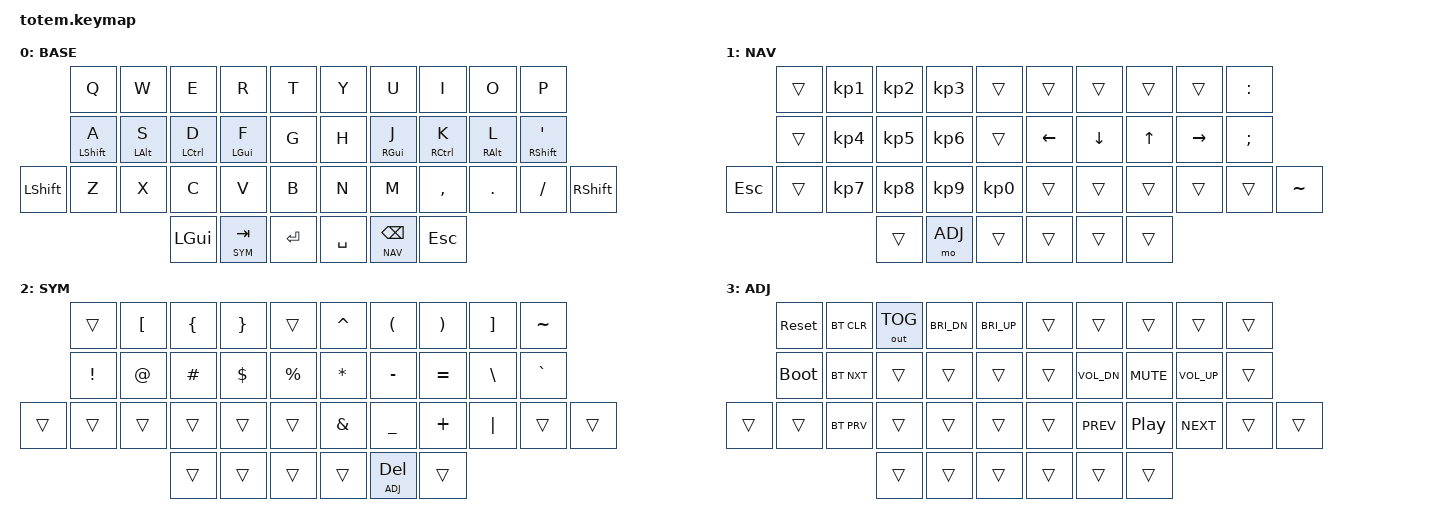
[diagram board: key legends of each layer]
//
//                                                        ▀▀▀▀▀     ▀▀▀▀▀          ▀▀█▀▀
//                                                        ▄▀▀▀▄  ▄  ▄▀▀▀▄  ▄  ▄▀▀▀▄  █  ▄▀▀▀▄
//                                                        █   █  █  █   █  █  █   █  █  █   █
//                                                         ▀▀▀   █   ▀▀▀   █   ▀▀▀   ▀   ▀▀▀
//                                                               █      ▄▄▄█▄▄▄    █   █
//                                                               ▀      █  █  █     █▄█
//                                                             ▀▀▀▀▀    █  █  █      ▀
//                                                                      ▀  ▀  ▀
//
// ▄▄▄▄▄▄▄▄▄▄▄▄▄▄▄▄▄▄▄▄▄▄▄▄▄▄▄▄▄▄▄▄▄▄▄▄▄▄▄▄▄▄▄▄▄▄▄▄▄▄▄▄▄▄▄▄▄▄▄▄▄▄▄▄▄▄▄▄▄▄▄▄▄▄▄▄▄▄▄▄▄▄▄▄▄▄▄▄▄▄▄▄▄▄▄▄▄▄▄▄▄▄▄▄▄▄▄▄▄▄▄▄▄▄▄▄▄▄▄▄▄▄▄▄▄▄▄▄▄▄▄▄▄▄▄▄▄▄▄▄▄▄▄▄▄▄▄▄▄

#include <behaviors.dtsi>
#include <dt-bindings/zmk/keys.h>
#include <dt-bindings/zmk/bt.h>
#include <dt-bindings/zmk/outputs.h>
#include "../zmk-nodefree-config/helper.h"

#define BASE 0
#define NAV  1
#define SYM  2
#define ADJ  3

#include "../zmk-nodefree-config/keypos_def/keypos_38keys.h"                   // keyposition helpers
#define KEYS_L LT0 LT1 LT2 LT3 LT4 LM0 LM1 LM2 LM3 LM4 LB0 LB1 LB2 LB3 LB4 LB5 // left-hand keys
#define KEYS_R RT0 RT1 RT2 RT3 RT4 RM0 RM1 RM2 RM3 RM4 RB0 RB1 RB2 RB3 RB4 RB5 // right-hand keys
#define THUMBS LH2 LH1 LH0 RH0 RH1 RH2                                         // thumb keys

/* left-hand HRMs */
ZMK_BEHAVIOR(hml, hold_tap,
  flavor = "balanced";
  tapping-term-ms = <280>;
  quick-tap-ms = <175>;                // repeat on tap-into-hold
  require-prior-idle-ms = <150>;
  bindings = <&kp>, <&kp>;
  hold-trigger-key-positions = <KEYS_R THUMBS>;
  hold-trigger-on-release;             // delay positional check until key-release
)

/* right-hand HRMs */
ZMK_BEHAVIOR(hmr, hold_tap,
  flavor = "balanced";
  tapping-term-ms = <280>;
  quick-tap-ms = <175>;                // repeat on tap-into-hold
  require-prior-idle-ms = <150>;
  bindings = <&kp>, <&kp>;
  hold-trigger-key-positions = <KEYS_L THUMBS>;
  hold-trigger-on-release;             // delay positional check until key-release
)

&lt {
  quick-tap-ms = <100>;
  global-quick-tap;
  flavor = "tap-preferred";
  tapping-term-ms = <170>;
};

/ {
        keymap {
                compatible = "zmk,keymap";
// ▄▄▄▄▄▄▄▄▄▄▄▄▄▄▄▄▄▄▄▄▄▄▄▄▄▄▄▄▄▄▄▄▄▄▄▄▄▄▄▄▄▄▄▄▄▄▄▄▄▄▄▄▄▄▄▄▄▄▄▄▄▄▄▄▄▄▄▄▄▄▄▄▄▄▄▄▄▄▄▄▄▄▄▄▄▄▄▄▄▄▄▄▄▄▄▄▄▄▄▄▄▄▄▄▄▄▄▄▄▄▄▄▄▄▄▄▄▄▄▄▄▄▄▄▄▄▄▄▄▄▄▄▄▄▄▄▄▄▄▄▄▄▄▄▄▄▄▄▄

                base_layer {
// ┏━━━━━━━━━━━━━━━━━━━━━━━━━━━━━━━━━━━━━━━┓
label= "BASE"                              ;
// ┗━━━━━━━━━━━━━━━━━━━━━━━━━━━━━━━━━━━━━━━┛
//             ┏━━━━━━━━━━━┳━━━━━━━━━━━┳━━━━━━━━━━━┳━━━━━━━━━━━┳━━━━━━━━━━━┓   ┏━━━━━━━━━━━┳━━━━━━━━━━━┳━━━━━━━━━━━┳━━━━━━━━━━━┳━━━━━━━━━━━┓
//             ┃     Q     ┃     W     ┃     E     ┃     R     ┃     T     ┃   ┃     Y     ┃     U     ┃     I     ┃     O     ┃     P     ┃
//             ┣━━━━━━━━━━━╋━━━━━━━━━━━╋━━━━━━━━━━━╋━━━━━━━━━━━╋━━━━━━━━━━━┫   ┣━━━━━━━━━━━╋━━━━━━━━━━━╋━━━━━━━━━━━╋━━━━━━━━━━━╋━━━━━━━━━━━┫
//             ┃     A     ┃     S     ┃     D     ┃     F     ┃     G     ┃   ┃     H     ┃     J     ┃     K     ┃     L     ┃     '     ┃
// ┏━━━━━━━━━━━╋━━━━━━━━━━━╋━━━━━━━━━━━╋━━━━━━━━━━━╋━━━━━━━━━━━╋━━━━━━━━━━━┫   ┣━━━━━━━━━━━╋━━━━━━━━━━━╋━━━━━━━━━━━╋━━━━━━━━━━━╋━━━━━━━━━━━╋━━━━━━━━━━━┓
// ┃   SHIFT   ┃     Z     ┃     X     ┃     C     ┃     V     ┃     B     ┃   ┃     N     ┃     M     ┃     ,     ┃     .     ┃     /     ┃   SHIFT   ┃
// ┗━━━━━━━━━━━┻━━━━━━━━━━━┻━━━━━━━━━━━╋━━━━━━━━━━━╋━━━━━━━━━━━╋━━━━━━━━━━━┫   ┣━━━━━━━━━━━╋━━━━━━━━━━━╋━━━━━━━━━━━╋━━━━━━━━━━━┻━━━━━━━━━━━┻━━━━━━━━━━━┛
//                                     ┃    CMD    ┃    TAB    ┃   ENTER   ┃   ┃   SPACE   ┃   BSPC    ┃    ESC    ┃
//                                     ┗━━━━━━━━━━━┻━━━━━━━━━━━┻━━━━━━━━━━━┛   ┗━━━━━━━━━━━┻━━━━━━━━━━━┻━━━━━━━━━━━┛
 bindings = <
// ╷           ╷           ╷           ╷           ╷           ╷           ╷   ╷           ╷           ╷           ╷           ╷           ╷           ╷

                &kp Q       &kp W       &kp E       &kp R       &kp T           &kp Y       &kp U       &kp I       &kp O       &kp P
                &hml LSHFT A &hml LALT S &hml LCTRL D &hml LGUI F  &kp G        &kp H       &hmr RGUI J &hmr RCTRL K &hmr RALT L &hmr RSHFT SQT
    &kp LSHFT   &kp Z       &kp X       &kp C       &kp V       &kp B           &kp N       &kp M       &kp COMMA   &kp DOT     &kp FSLH    &kp RSHFT
                                        &kp LGUI    &lt SYM TAB &kp RET         &kp SPACE   &lt NAV BSPC &kp ESC
                        >;
                };

// ▄▄▄▄▄▄▄▄▄▄▄▄▄▄▄▄▄▄▄▄▄▄▄▄▄▄▄▄▄▄▄▄▄▄▄▄▄▄▄▄▄▄▄▄▄▄▄▄▄▄▄▄▄▄▄▄▄▄▄▄▄▄▄▄▄▄▄▄▄▄▄▄▄▄▄▄▄▄▄▄▄▄▄▄▄▄▄▄▄▄▄▄▄▄▄▄▄▄▄▄▄▄▄▄▄▄▄▄▄▄▄▄▄▄▄▄▄▄▄▄▄▄▄▄▄▄▄▄▄▄▄▄▄▄▄▄▄▄▄▄▄▄▄▄▄▄▄▄▄


                nav_layer {
// ┏━━━━━━━━━━━━━━━━━━━━━━━━━━━━━━━━━━━━━━━┓
label= "NAV"                               ;
// ┗━━━━━━━━━━━━━━━━━━━━━━━━━━━━━━━━━━━━━━━┛
//             ┏━━━━━━━━━━━┳━━━━━━━━━━━┳━━━━━━━━━━━┳━━━━━━━━━━━┳━━━━━━━━━━━┓   ┏━━━━━━━━━━━┳━━━━━━━━━━━┳━━━━━━━━━━━┳━━━━━━━━━━━┳━━━━━━━━━━━┓
//             ┃           ┃     1     ┃     2     ┃     3     ┃           ┃   ┃           ┃           ┃           ┃           ┃     :     ┃
//             ┣━━━━━━━━━━━╋━━━━━━━━━━━╋━━━━━━━━━━━╋━━━━━━━━━━━╋━━━━━━━━━━━┫   ┣━━━━━━━━━━━╋━━━━━━━━━━━╋━━━━━━━━━━━╋━━━━━━━━━━━╋━━━━━━━━━━━┫
//             ┃           ┃     4     ┃     5     ┃     6     ┃           ┃   ┃    LEFT   ┃    DOWN   ┃     UP    ┃   RIGHT   ┃     ;     ┃
// ┏━━━━━━━━━━━╋━━━━━━━━━━━╋━━━━━━━━━━━╋━━━━━━━━━━━╋━━━━━━━━━━━╋━━━━━━━━━━━┫   ┣━━━━━━━━━━━╋━━━━━━━━━━━╋━━━━━━━━━━━╋━━━━━━━━━━━╋━━━━━━━━━━━╋━━━━━━━━━━━┓
// ┃    ESC    ┃           ┃     7     ┃     8     ┃     9     ┃     0     ┃   ┃           ┃           ┃           ┃           ┃           ┃     ~     ┃
// ┗━━━━━━━━━━━┻━━━━━━━━━━━┻━━━━━━━━━━━╋━━━━━━━━━━━╋━━━━━━━━━━━╋━━━━━━━━━━━┫   ┣━━━━━━━━━━━╋━━━━━━━━━━━╋━━━━━━━━━━━╋━━━━━━━━━━━┻━━━━━━━━━━━┻━━━━━━━━━━━┛
//                                     ┃           ┃           ┃           ┃   ┃           ┃           ┃           ┃
//                                     ┗━━━━━━━━━━━┻━━━━━━━━━━━┻━━━━━━━━━━━┛   ┗━━━━━━━━━━━┻━━━━━━━━━━━┻━━━━━━━━━━━┛
 bindings = <
// ╷           ╷           ╷           ╷           ╷           ╷           ╷   ╷           ╷           ╷           ╷           ╷           ╷           ╷

                &trans      &kp KP_N1   &kp KP_N2   &kp KP_N3   &trans          &trans      &trans      &trans      &trans      &kp COLON
                &trans      &kp KP_N4   &kp KP_N5   &kp KP_N6   &trans          &kp LEFT    &kp DOWN    &kp UP      &kp RIGHT   &kp SEMI
    &kp ESC     &trans      &kp KP_N7   &kp KP_N8   &kp KP_N9   &kp KP_N0       &trans      &trans      &trans      &trans      &trans      &kp TILDE
                                        &trans      &mo ADJ     &trans          &trans      &trans      &trans
                       >;
                };

// ▄▄▄▄▄▄▄▄▄▄▄▄▄▄▄▄▄▄▄▄▄▄▄▄▄▄▄▄▄▄▄▄▄▄▄▄▄▄▄▄▄▄▄▄▄▄▄▄▄▄▄▄▄▄▄▄▄▄▄▄▄▄▄▄▄▄▄▄▄▄▄▄▄▄▄▄▄▄▄▄▄▄▄▄▄▄▄▄▄▄▄▄▄▄▄▄▄▄▄▄▄▄▄▄▄▄▄▄▄▄▄▄▄▄▄▄▄▄▄▄▄▄▄▄▄▄▄▄▄▄▄▄▄▄▄▄▄▄▄▄▄▄▄▄▄▄▄▄▄


                sym_layer {
// ┏━━━━━━━━━━━━━━━━━━━━━━━━━━━━━━━━━━━━━━━┓
label= "SYM"                               ;
// ┗━━━━━━━━━━━━━━━━━━━━━━━━━━━━━━━━━━━━━━━┛
//             ┏━━━━━━━━━━━┳━━━━━━━━━━━┳━━━━━━━━━━━┳━━━━━━━━━━━┳━━━━━━━━━━━┓   ┏━━━━━━━━━━━┳━━━━━━━━━━━┳━━━━━━━━━━━┳━━━━━━━━━━━┳━━━━━━━━━━━┓
//             ┃           ┃     [     ┃     {     ┃     }     ┃           ┃   ┃     ˆ     ┃     (     ┃     )     ┃     ]     ┃     ~     ┃
//             ┣━━━━━━━━━━━╋━━━━━━━━━━━╋━━━━━━━━━━━╋━━━━━━━━━━━╋━━━━━━━━━━━┫   ┣━━━━━━━━━━━╋━━━━━━━━━━━╋━━━━━━━━━━━╋━━━━━━━━━━━╋━━━━━━━━━━━┫
//             ┃     !     ┃     @     ┃     #     ┃     $     ┃     %     ┃   ┃     *     ┃     -     ┃     =     ┃     \     ┃     `     ┃
// ┏━━━━━━━━━━━╋━━━━━━━━━━━╋━━━━━━━━━━━╋━━━━━━━━━━━╋━━━━━━━━━━━╋━━━━━━━━━━━┫   ┣━━━━━━━━━━━╋━━━━━━━━━━━╋━━━━━━━━━━━╋━━━━━━━━━━━╋━━━━━━━━━━━╋━━━━━━━━━━━┓
// ┃   ESC     ┃           ┃           ┃           ┃           ┃           ┃   ┃     &     ┃     _     ┃     +     ┃     |     ┃           ┃     ~     ┃
// ┗━━━━━━━━━━━┻━━━━━━━━━━━┻━━━━━━━━━━━╋━━━━━━━━━━━╋━━━━━━━━━━━╋━━━━━━━━━━━┫   ┣━━━━━━━━━━━╋━━━━━━━━━━━╋━━━━━━━━━━━╋━━━━━━━━━━━┻━━━━━━━━━━━┻━━━━━━━━━━━┛
//                                     ┃           ┃           ┃           ┃   ┃           ┃           ┃           ┃
//                                     ┗━━━━━━━━━━━┻━━━━━━━━━━━┻━━━━━━━━━━━┛   ┗━━━━━━━━━━━┻━━━━━━━━━━━┻━━━━━━━━━━━┛
 bindings = <
// ╷           ╷           ╷           ╷           ╷           ╷           ╷   ╷           ╷           ╷           ╷           ╷           ╷           ╷

                &trans      &kp LBKT    &kp LBRC    &kp RBRC    &trans          &kp CARET   &kp LPAR    &kp RPAR    &kp RBKT    &kp TILDE
                &kp EXCL    &kp AT      &kp HASH    &kp DLLR    &kp PRCNT       &kp ASTRK   &kp MINUS   &kp EQUAL   &kp BSLH    &kp GRAVE
    &trans      &trans      &trans      &trans      &trans      &trans          &kp AMPS    &kp UNDER   &kp PLUS    &kp PIPE    &trans      &trans
                                        &trans      &trans      &trans          &trans      &lt ADJ DEL &trans
                        >;
                };

// ▄▄▄▄▄▄▄▄▄▄▄▄▄▄▄▄▄▄▄▄▄▄▄▄▄▄▄▄▄▄▄▄▄▄▄▄▄▄▄▄▄▄▄▄▄▄▄▄▄▄▄▄▄▄▄▄▄▄▄▄▄▄▄▄▄▄▄▄▄▄▄▄▄▄▄▄▄▄▄▄▄▄▄▄▄▄▄▄▄▄▄▄▄▄▄▄▄▄▄▄▄▄▄▄▄▄▄▄▄▄▄▄▄▄▄▄▄▄▄▄▄▄▄▄▄▄▄▄▄▄▄▄▄▄▄▄▄▄▄▄▄▄▄▄▄▄▄▄▄


                adjust_layer {
// ┏━━━━━━━━━━━━━━━━━━━━━━━━━━━━━━━━━━━━━━━┓
label= "ADJ"                               ;
// ┗━━━━━━━━━━━━━━━━━━━━━━━━━━━━━━━━━━━━━━━┛
//             ┏━━━━━━━━━━━┳━━━━━━━━━━━┳━━━━━━━━━━━┳━━━━━━━━━━━┳━━━━━━━━━━━┓   ┏━━━━━━━━━━━┳━━━━━━━━━━━┳━━━━━━━━━━━┳━━━━━━━━━━━┳━━━━━━━━━━━┓
//             ┃   RESET   ┃ BT CLEAR  ┃  OUT TOG  ┃  SCREEN-  ┃  SCREEN+  ┃   ┃           ┃           ┃           ┃           ┃           ┃
//             ┣━━━━━━━━━━━╋━━━━━━━━━━━╋━━━━━━━━━━━╋━━━━━━━━━━━╋━━━━━━━━━━━┫   ┣━━━━━━━━━━━╋━━━━━━━━━━━╋━━━━━━━━━━━╋━━━━━━━━━━━╋━━━━━━━━━━━┫
//             ┃ BOOTLOAD  ┃ BT NEXT   ┃           ┃           ┃           ┃   ┃           ┃   VOL-    ┃    MUTE   ┃   VOL+    ┃           ┃
// ┏━━━━━━━━━━━╋━━━━━━━━━━━╋━━━━━━━━━━━╋━━━━━━━━━━━╋━━━━━━━━━━━╋━━━━━━━━━━━┫   ┣━━━━━━━━━━━╋━━━━━━━━━━━╋━━━━━━━━━━━╋━━━━━━━━━━━╋━━━━━━━━━━━╋━━━━━━━━━━━┓
// ┃           ┃           ┃ BT PREV   ┃           ┃           ┃           ┃   ┃           ┃   PREV    ┃    PLAY   ┃   NEXT    ┃           ┃           ┃
// ┗━━━━━━━━━━━┻━━━━━━━━━━━┻━━━━━━━━━━━╋━━━━━━━━━━━╋━━━━━━━━━━━╋━━━━━━━━━━━┫   ┣━━━━━━━━━━━╋━━━━━━━━━━━╋━━━━━━━━━━━╋━━━━━━━━━━━┻━━━━━━━━━━━┻━━━━━━━━━━━┛
//                                     ┃           ┃           ┃           ┃   ┃           ┃           ┃           ┃
//                                     ┗━━━━━━━━━━━┻━━━━━━━━━━━┻━━━━━━━━━━━┛   ┗━━━━━━━━━━━┻━━━━━━━━━━━┻━━━━━━━━━━━┛
 bindings = <
// ╷           ╷           ╷           ╷           ╷           ╷           ╷   ╷           ╷           ╷           ╷           ╷           ╷           ╷

                &sys_reset  &bt BT_CLR &out OUT_TOG &kp C_BRI_DN &kp C_BRI_UP   &trans      &trans      &trans      &trans      &trans
                &bootloader &bt BT_NXT  &trans      &trans      &trans          &trans      &kp C_VOL_DN &kp C_MUTE &kp C_VOL_UP &trans
    &trans      &trans      &bt BT_PRV  &trans      &trans      &trans          &trans      &kp C_PREV   &kp C_PP   &kp C_NEXT  &trans      &trans
                                        &trans      &trans      &trans          &trans      &trans      &trans
                        >;
                };
        };
};
